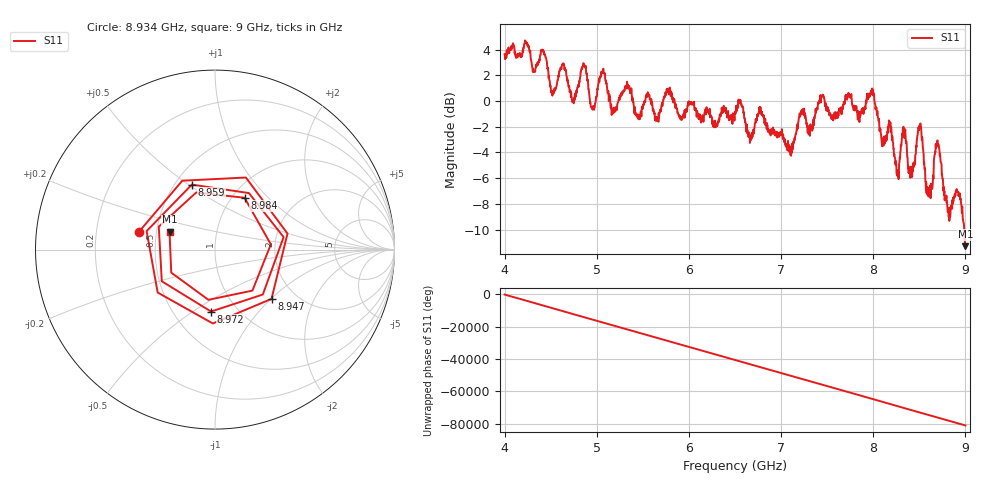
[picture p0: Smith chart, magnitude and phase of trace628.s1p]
! Created with skrf 1.8.0 (http://scikit-rf.org).
# Hz S RI R 50.0
!freq ReS11 ImS11
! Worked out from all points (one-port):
!   1601 points, 4 GHz to 9 GHz, reference 50 ohm
!   lowest |S11| = -11.3 dB at 9 GHz (marker M1), VSWR 1.75, Z = 29.3 + j6.32 ohm
!   |S11| at or under -10 dB: 8.987226 GHz to end of sweep
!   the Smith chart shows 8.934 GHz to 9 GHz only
!   S11 on the Smith chart (normalised r, x): 8.934 GHz: 0.40, +0.09; 8.947 GHz: 1.51, -1.01; 8.959 GHz: 0.61, +0.52; 8.972 GHz: 0.76, -0.59; 8.984 GHz: 1.14, +0.74; 9 GHz: 0.59, +0.13
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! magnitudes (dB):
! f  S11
! 4 GHz  3.6
! 4.419 GHz  4.0
! 4.528 GHz  0.6
! 4.625 GHz  2.9
! 4.744 GHz  0.0
! 4.856 GHz  2.9
! 4.953 GHz  -0.5
! 5.062 GHz  2.3
! 5.25 GHz  0.4
! 5.875 GHz  -0.9
! 6.5 GHz  -0.8
! 7.125 GHz  -3.5
! 7.225 GHz  -1.0
! 7.75 GHz  0.3
! 7.988 GHz  1.0
! 8.256 GHz  -5.7
! 8.328 GHz  -2.0
! 8.375 GHz  -4.9
! 8.506 GHz  -1.9
! 8.597 GHz  -7.3
! 8.694 GHz  -3.1
! 8.812 GHz  -8.4
! 8.934 GHz  -7.2
! 8.947 GHz  -7.6
! 8.959 GHz  -8.3
! 8.972 GHz  -9.2
! 8.984 GHz  -9.6
! 9 GHz  -11.3
